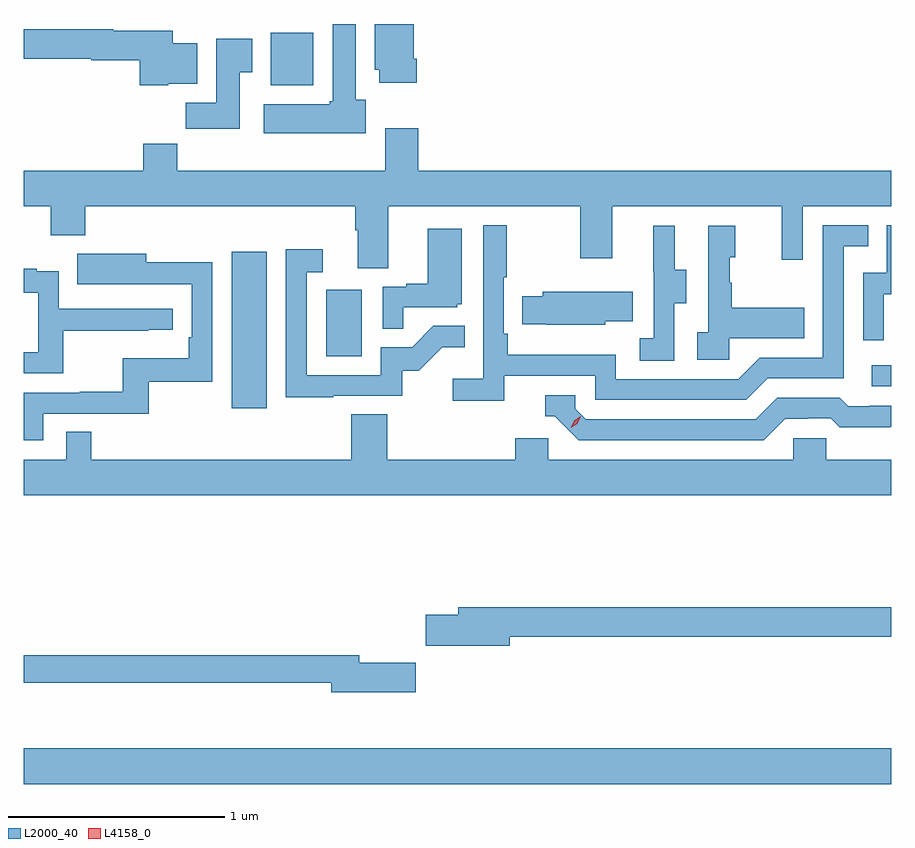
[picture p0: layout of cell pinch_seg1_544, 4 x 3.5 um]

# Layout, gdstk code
import gdstk
lib = gdstk.Library(unit=1e-6, precision=1e-09)
def R(c, l, rs):  # rectangles x0, y0, x1, y1
    for r in rs: c.add(gdstk.rectangle(r[:2], r[2:], *l))
def P(c, l, *ps):  # polygons
    for p in ps: c.add(gdstk.Polygon(p, *l))
L2000_40 = (2000, 40)
L4158_0 = (4158, 0)

pinch_seg1_544 = lib.new_cell('pinch_seg1_544')
R(pinch_seg1_544, L2000_40, [(1065.024,531.752,1069.024,531.916), (1065.983,533.484,1066.144,534.205), (1068.933,533.586,1069.024,533.682), (1066.418,533.724,1066.582,534.031), (1066.163,534.974,1066.36,535.216)])
P(pinch_seg1_544, L2000_40, [(1066.6,534.906),(1066.555,534.906),(1066.555,535.256),(1066.448,535.256),(1066.448,534.9),(1066.435,534.9),(1066.435,534.886),(1066.131,534.886),(1066.131,534.752),(1066.6,534.752)],
  [(1066.835,535.096),(1066.822,535.096),(1066.822,535.256),(1066.643,535.256),(1066.643,535.044),(1066.664,535.044),(1066.664,534.984),(1066.835,534.984)],
  [(1065.69,534.98),(1065.823,534.98),(1065.823,535.168),(1065.712,535.168),(1065.712,535.225),(1065.436,535.225),(1065.436,535.232),(1065.024,535.232),(1065.024,535.096),(1065.336,535.096),(1065.336,535.088),(1065.56,535.088),(1065.56,534.974),(1065.69,534.974)],
  [(1066.021,535.033),(1066.078,535.033),(1066.078,535.189),(1065.911,535.189),(1065.911,534.892),(1065.772,534.892),(1065.772,534.774),(1066.021,534.774)],
  [(1066.553,534.304),(1066.565,534.304),(1066.565,534.13),(1066.705,534.13),(1066.705,534.416),(1067.59,534.416),(1067.59,534.177),(1067.737,534.177),(1067.737,534.416),(1068.518,534.416),(1068.518,534.168),(1068.615,534.168),(1068.615,534.416),(1069.024,534.416),(1069.024,534.58),(1066.844,534.58),(1066.844,534.775),(1066.691,534.775),(1066.691,534.58),(1065.731,534.58),(1065.731,534.704),(1065.575,534.704),(1065.575,534.58),(1065.024,534.58),(1065.024,534.416),(1065.148,534.416),(1065.148,534.281),(1065.308,534.281),(1065.308,534.416),(1066.553,534.416)],
  [(1067.24,533.634),(1067.658,533.634),(1067.658,533.523),(1068.355,533.523),(1068.454,533.622),(1068.804,533.622),(1068.804,534.231),(1068.917,534.231),(1068.917,534.327),(1068.708,534.327),(1068.708,533.718),(1068.417,533.718),(1068.318,533.619),(1067.754,533.619),(1067.754,533.731),(1067.255,533.731),(1067.255,533.827),(1067.238,533.827),(1067.238,534.088),(1067.251,534.088),(1067.251,534.328),(1067.142,534.328),(1067.142,533.62),(1067.001,533.62),(1067.001,533.518),(1067.24,533.518)],
  [(1068.99,534.011),(1069.024,534.011),(1069.024,534.327),(1069.002,534.327),(1069.002,534.108),(1068.894,534.108),(1068.894,533.799),(1068.99,533.799)],
  [(1068.276,533.807),(1068.623,533.807),(1068.623,533.947),(1068.289,533.947),(1068.289,534.062),(1068.279,534.062),(1068.279,534.18),(1068.304,534.18),(1068.304,534.325),(1068.18,534.325),(1068.18,533.834),(1068.129,533.834),(1068.129,533.709),(1068.276,533.709)],
  [(1068.024,533.968),(1068.079,533.968),(1068.079,534.123),(1068.025,534.123),(1068.025,534.325),(1067.927,534.325),(1067.927,534.111),(1067.928,534.111),(1067.928,533.807),(1067.865,533.807),(1067.865,533.704),(1068.024,533.704)],
  [(1066.775,533.949),(1067.022,533.949),(1067.022,533.964),(1067.044,533.964),(1067.044,534.313),(1066.886,534.313),(1066.886,534.058),(1066.787,534.058),(1066.787,534.045),(1066.68,534.045),(1066.68,533.851),(1066.775,533.851)],
  [(1066.451,533.541),(1066.77,533.541),(1066.77,533.658),(1066.846,533.658),(1066.953,533.765),(1067.057,533.765),(1067.057,533.864),(1066.913,533.864),(1066.815,533.766),(1066.671,533.766),(1066.671,533.637),(1066.329,533.637),(1066.329,534.111),(1066.402,534.111),(1066.402,534.217),(1066.233,534.217),(1066.233,533.536),(1066.451,533.536)],
  [(1065.114,533.46),(1065.601,533.46),(1065.601,533.607),(1065.894,533.607),(1065.894,534.158),(1065.589,534.158),(1065.589,534.196),(1065.271,534.196),(1065.271,534.056),(1065.485,534.056),(1065.485,534.057),(1065.798,534.057),(1065.798,533.812),(1065.785,533.812),(1065.785,533.716),(1065.48,533.716),(1065.48,533.561),(1065.283,533.561),(1065.283,533.556),(1065.024,533.556),(1065.024,533.337),(1065.114,533.337)],
  [(1065.206,533.842),(1065.599,533.842),(1065.599,533.847),(1065.712,533.847),(1065.712,533.943),(1065.186,533.943),(1065.186,534.115),(1065.083,534.115),(1065.083,534.127),(1065.024,534.127),(1065.024,534.018),(1065.09,534.018),(1065.09,533.742),(1065.024,533.742),(1065.024,533.646),(1065.206,533.646)],
  [(1067.706,533.885),(1067.831,533.885),(1067.831,534.022),(1067.417,534.022),(1067.417,534),(1067.323,534),(1067.323,533.871),(1067.434,533.871),(1067.434,533.87),(1067.706,533.87)],
  [(1068.535,533.436),(1068.642,533.436),(1068.642,533.439),(1068.745,533.439),(1068.787,533.397),(1069.02,533.397),(1069.02,533.399),(1069.024,533.399),(1069.024,533.496),(1068.925,533.496),(1068.925,533.493),(1068.826,533.493),(1068.787,533.532),(1068.498,533.532),(1068.399,533.433),(1067.616,533.433),(1067.568,533.481),(1067.568,533.544),(1067.429,533.544),(1067.429,533.448),(1067.472,533.448),(1067.583,533.337),(1068.436,533.337)],
  [(1069.024,533.248),(1068.723,533.248),(1068.723,533.346),(1068.573,533.346),(1068.573,533.248),(1067.442,533.248),(1067.442,533.346),(1067.291,533.346),(1067.291,533.248),(1066.7,533.248),(1066.7,533.456),(1066.535,533.456),(1066.535,533.248),(1065.335,533.248),(1065.335,533.375),(1065.219,533.375),(1065.219,533.248),(1065.024,533.248),(1065.024,533.084),(1069.024,533.084)],
  [(1067.266,532.432),(1069.024,532.432),(1069.024,532.568),(1067.027,532.568),(1067.027,532.532),(1066.878,532.532),(1066.878,532.39),(1067.266,532.39)],
  [(1066.831,532.31),(1066.57,532.31),(1066.57,532.346),(1065.024,532.346),(1065.024,532.218),(1066.442,532.218),(1066.442,532.175),(1066.831,532.175)])
P(pinch_seg1_544, L4158_0, [(1067.546,533.394),(1067.546,533.394),(1067.562,533.427),(1067.592,533.447),(1067.592,533.447),(1067.592,533.446),(1067.577,533.414),(1067.546,533.394)])

lib.write_gds('pinch_seg1_544.gds')
